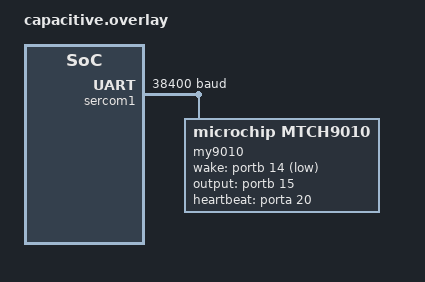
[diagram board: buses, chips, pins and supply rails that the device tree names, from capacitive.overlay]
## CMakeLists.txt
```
# SPDX-License-Identifier: Apache-2.0

cmake_minimum_required(VERSION 3.28.0)

find_package(Zephyr REQUIRED HINTS $ENV{ZEPHYR_BASE})
project(mtch9010_test)

target_sources(app PRIVATE src/main.c)
```

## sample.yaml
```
#
# Copyright (c) 2025 Microchip Technology Inc.
#
# SPDX-License-Identifier: Apache-2.0

sample:
  name: mtch9010 liquid leak detector testbench
  description: Demonstration of the MTCH9010 liquid leak detector
tests:
  sample.sensor.mtch9010.capacitive:
    tags: sensors
    build_only: true
    platform_allow:
      - saml21_xpro
    extra_args:
      - DTC_OVERLAY_FILE="capacitive.overlay"
  sample.sensor.mtch9010.conductive:
    tags: sensors
    build_only: true
    platform_allow:
      - saml21_xpro
    extra_args:
      - DTC_OVERLAY_FILE="conductive.overlay"
```

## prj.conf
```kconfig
# Copyright (c) 2025 Microchip Technology Inc.
# SPDX-License-Identifier: Apache-2.0

CONFIG_LOG=y
CONFIG_LOG_ALWAYS_RUNTIME=y
CONFIG_SERIAL=y
CONFIG_SENSOR=y
CONFIG_MTCH9010_RESET_ON_STARTUP=n
```

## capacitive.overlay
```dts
/*
 * Copyright (c) 2025 Microchip Technology Inc.
 *
 * SPDX-License-Identifier: Apache-2.0
 */
#include <zephyr/dt-bindings/sensor/mtch9010.h>

&sercom1 {
	compatible = "atmel,sam0-uart";
	current-speed = <38400>;
	rxpo = <3>;
	txpo = <1>;

	pinctrl-0 = <&sercom1_default>;
	pinctrl-names = "default";
	status = "okay";

	my9010: mtch9010 {
		compatible = "microchip,mtch9010";

		uart-config-enable;
		operating-mode = "MTCH9010_CAPACITIVE";
		extended-output-enable;
		extended-output-format = "MTCH9010_OUTPUT_FORMAT_BOTH";
		detect-value = <100>;

		wake-gpios = <&portb 14 GPIO_ACTIVE_LOW>;
		output-gpios = <&portb 15 GPIO_ACTIVE_HIGH>;
		heartbeat-gpios = <&porta 20 GPIO_ACTIVE_HIGH>;
	};
};
```

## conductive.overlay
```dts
/*
 * Copyright (c) 2025 Microchip Technology Inc.
 *
 * SPDX-License-Identifier: Apache-2.0
 */
#include <zephyr/dt-bindings/sensor/mtch9010.h>

&sercom1 {
	compatible = "atmel,sam0-uart";
	current-speed = <38400>;
	rxpo = <3>;
	txpo = <1>;

	pinctrl-0 = <&sercom1_default>;
	pinctrl-names = "default";
	status = "okay";

	my9010: mtch9010 {
		compatible = "microchip,mtch9010";

		uart-config-enable;
		operating-mode = "MTCH9010_CONDUCTIVE";
		extended-output-enable;
		extended-output-format = "MTCH9010_OUTPUT_FORMAT_BOTH";
		detect-value = <100>;

		wake-gpios = <&portb 14 GPIO_ACTIVE_LOW>;
		output-gpios = <&portb 15 GPIO_ACTIVE_HIGH>;
		heartbeat-gpios = <&porta 20 GPIO_ACTIVE_HIGH>;
	};
};
```

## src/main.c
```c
/*
 * Copyright (c) 2025 Microchip Technology Inc.
 *
 * SPDX-License-Identifier: Apache-2.0
 */

#include <stdio.h>

#include <zephyr/device.h>
#include <zephyr/devicetree.h>
#include <zephyr/drivers/gpio.h>
#include <zephyr/drivers/sensor/mtch9010.h>
#include <zephyr/kernel.h>

int main(void)
{
	const struct device *my_sensor = DEVICE_DT_GET(
		DT_COMPAT_GET_ANY_STATUS_OKAY(microchip_mtch9010));

	if (!device_is_ready(my_sensor)) {
		printk("MTCH9010 is NOT Ready\n");
		return 0;
	}

	struct sensor_value val;

	while (1) {
		sensor_sample_fetch(my_sensor);

		if (sensor_channel_get(my_sensor, SENSOR_CHAN_MTCH9010_SW_OUT_STATE, &val) < 0) {
			printk("Unable to fetch SENSOR_CHAN_MTCH9010_SW_OUT_STATE\r\n");
		} else {
			printk("SENSOR_CHAN_MTCH9010_SW_OUT_STATE = %d\r\n", val.val1);
		}

		if (sensor_channel_get(my_sensor, SENSOR_CHAN_MTCH9010_OUT_STATE, &val) < 0) {
			printk("Unable to fetch SENSOR_CHAN_MTCH9010_OUT_STATE\r\n");
		} else {
			printk("SENSOR_CHAN_MTCH9010_OUT_STATE = %d\r\n", val.val1);
		}

		if (sensor_channel_get(my_sensor, SENSOR_CHAN_MTCH9010_REFERENCE_VALUE, &val) < 0) {
			printk("Unable to fetch SENSOR_CHAN_MTCH9010_REFERENCE_VALUE\r\n");
		} else {
			printk("SENSOR_CHAN_MTCH9010_REFERENCE_VALUE = %d\r\n", val.val1);
		}

		if (sensor_channel_get(my_sensor, SENSOR_CHAN_MTCH9010_THRESHOLD_VALUE, &val) < 0) {
			printk("Unable to fetch SENSOR_CHAN_MTCH9010_THRESHOLD_VALUE\r\n");
		} else {
			printk("SENSOR_CHAN_MTCH9010_THRESHOLD_VALUE = %d\r\n", val.val1);
		}

		if (sensor_channel_get(my_sensor, SENSOR_CHAN_MTCH9010_MEAS_RESULT, &val) < 0) {
			printk("Unable to fetch SENSOR_CHAN_MTCH9010_MEAS_RESULT\r\n");
		} else {
			printk("SENSOR_CHAN_MTCH9010_MEAS_RESULT = %d\r\n", val.val1);
		}

		if (sensor_channel_get(my_sensor, SENSOR_CHAN_MTCH9010_MEAS_DELTA, &val) < 0) {
			printk("Unable to fetch SENSOR_CHAN_MTCH9010_MEAS_DELTA\r\n");
		} else {
			printk("SENSOR_CHAN_MTCH9010_MEAS_DELTA = %d\r\n", val.val1);
		}

		if (sensor_channel_get(my_sensor, SENSOR_CHAN_MTCH9010_HEARTBEAT_ERROR_STATE,
				       &val) < 0) {
			printk("Unable to fetch SENSOR_CHAN_MTCH9010_HEARTBEAT_ERROR_STATE\r\n");
		} else {
			printk("SENSOR_CHAN_MTCH9010_HEARTBEAT_ERROR_STATE = %d\r\n", val.val1);
		}

		printk("\n");
		k_sleep(K_MSEC(1000));
	}

	return 0;
}
```
